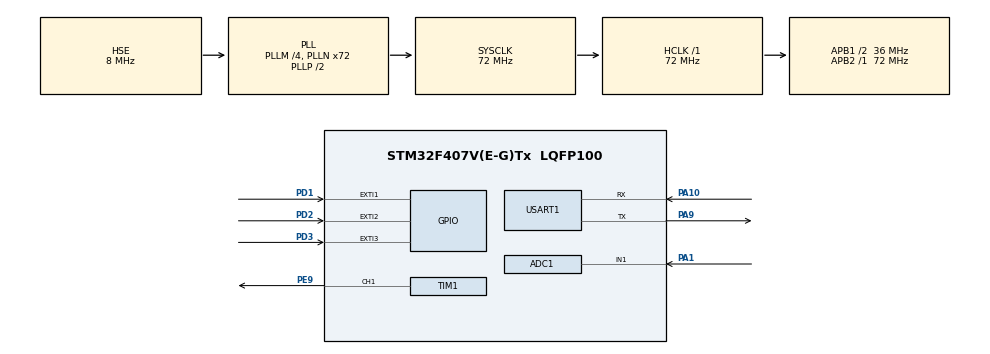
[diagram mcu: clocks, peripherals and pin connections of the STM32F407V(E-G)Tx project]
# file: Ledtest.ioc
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ADC1.Channel-2\#ChannelRegularConversion=ADC_CHANNEL_1
ADC1.ContinuousConvMode=DISABLE
ADC1.DMAContinuousRequests=ENABLE
ADC1.ExternalTrigConv=ADC_EXTERNALTRIGCONV_T2_TRGO
ADC1.NbrOfConversionFlag=1
ADC1.Rank-2\#ChannelRegularConversion=1
ADC1.SamplingTime-2\#ChannelRegularConversion=ADC_SAMPLETIME_15CYCLES
ADC1.master=1
Dma.ADC1.1.Direction=DMA_PERIPH_TO_MEMORY
Dma.ADC1.1.FIFOMode=DMA_FIFOMODE_DISABLE
Dma.ADC1.1.Instance=DMA2_Stream0
Dma.ADC1.1.MemDataAlignment=DMA_MDATAALIGN_HALFWORD
Dma.ADC1.1.MemInc=DMA_MINC_ENABLE
Dma.ADC1.1.Mode=DMA_CIRCULAR
Dma.ADC1.1.PeriphDataAlignment=DMA_PDATAALIGN_HALFWORD
Dma.ADC1.1.PeriphInc=DMA_PINC_DISABLE
Dma.ADC1.1.Priority=DMA_PRIORITY_HIGH
Dma.Request0=TIM1_CH1
Dma.Request1=ADC1
Dma.TIM1_CH1.0.Direction=DMA_MEMORY_TO_PERIPH
Dma.TIM1_CH1.0.FIFOMode=DMA_FIFOMODE_DISABLE
Dma.TIM1_CH1.0.Instance=DMA2_Stream1
Dma.TIM1_CH1.0.MemDataAlignment=DMA_MDATAALIGN_HALFWORD
Dma.TIM1_CH1.0.MemInc=DMA_MINC_ENABLE
Dma.TIM1_CH1.0.Mode=DMA_NORMAL
Dma.TIM1_CH1.0.PeriphDataAlignment=DMA_PDATAALIGN_HALFWORD
Dma.TIM1_CH1.0.PeriphInc=DMA_PINC_DISABLE
Dma.TIM1_CH1.0.Priority=DMA_PRIORITY_LOW
Mcu.Family=STM32F4
Mcu.Name=STM32F407V(E-G)Tx
Mcu.Package=LQFP100
NVIC.DMA2_Stream0_IRQn=true\:0\:0\:false\:false\:true\:false\:true\:true
NVIC.DMA2_Stream1_IRQn=true\:0\:0\:false\:true\:true\:1\:false\:true\:true
NVIC.EXTI1_IRQn=true\:0\:0\:false\:true\:true\:2\:true\:true\:true
NVIC.EXTI2_IRQn=true\:0\:0\:false\:true\:true\:3\:true\:true\:true
NVIC.EXTI3_IRQn=true\:0\:0\:false\:false\:true\:true\:true\:true
NVIC.PriorityGroup=NVIC_PRIORITYGROUP_4
PA1.Signal=ADCx_IN1
PA10.Mode=Asynchronous
PA10.Signal=USART1_RX
PA13.Mode=Serial_Wire
PA13.Signal=SYS_JTMS-SWDIO
PA14.Mode=Serial_Wire
PA14.Signal=SYS_JTCK-SWCLK
PA9.Mode=Asynchronous
PA9.Signal=USART1_TX
PD1.GPIO_ModeDefaultEXTI=GPIO_MODE_IT_FALLING
PD1.GPIO_PuPd=GPIO_PULLUP
PD1.Signal=GPXTI1
PD2.GPIO_ModeDefaultEXTI=GPIO_MODE_IT_FALLING
PD2.GPIO_PuPd=GPIO_PULLUP
PD2.Signal=GPXTI2
PD3.GPIO_ModeDefaultEXTI=GPIO_MODE_IT_FALLING
PD3.GPIO_PuPd=GPIO_PULLUP
PD3.Signal=GPXTI3
PE9.Signal=S_TIM1_CH1
PH0-OSC_IN.Mode=HSE-External-Oscillator
PH0-OSC_IN.Signal=RCC_OSC_IN
PH1-OSC_OUT.Mode=HSE-External-Oscillator
PH1-OSC_OUT.Signal=RCC_OSC_OUT
ProjectManager.HeapSize=0x200
ProjectManager.StackSize=0x400
ProjectManager.TargetToolchain=STM32CubeIDE
RCC.48MHZClocksFreq_Value=36000000
RCC.AHBFreq_Value=72000000
RCC.APB1CLKDivider=RCC_HCLK_DIV2
RCC.APB1Freq_Value=36000000
RCC.APB1TimFreq_Value=72000000
RCC.APB2Freq_Value=72000000
RCC.APB2TimFreq_Value=72000000
RCC.CortexFreq_Value=72000000
RCC.HCLKFreq_Value=72000000
RCC.HSE_VALUE=8000000
RCC.HSI_VALUE=16000000
RCC.LSE_VALUE=32768
RCC.PLLM=4
RCC.PLLN=72
RCC.PLLSourceVirtual=RCC_PLLSOURCE_HSE
RCC.SYSCLKFreq_VALUE=72000000
RCC.SYSCLKSource=RCC_SYSCLKSOURCE_PLLCLK
RCC.VCOOutputFreq_Value=144000000
SH.ADCx_IN1.0=ADC1_IN1,IN1
SH.S_TIM1_CH1.0=TIM1_CH1,PWM Generation1 CH1
STMicroelectronics.X-CUBE-ALGOBUILD.1.4.0.LibraryCcDSPOoLibraryJjDSPOoLibrary=true
TIM1.Channel-PWM\ Generation1\ CH1=TIM_CHANNEL_1
TIM1.Period=89
TIM2.Period=101
TIM2.Prescaler=15
TIM2.TIM_MasterOutputTrigger=TIM_TRGO_UPDATE
USART1.VirtualMode=VM_ASYNC
VP_STMicroelectronics.X-CUBE-ALGOBUILD_VS_DSPOoLibraryJjLibrary_1.4.0_1.4.0.Mode=DSPOoLibraryJjLibrary
VP_TIM1_VS_ClockSourceINT.Mode=Internal
VP_TIM2_VS_ClockSourceINT.Mode=Internal
board=custom

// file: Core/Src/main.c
/* USER CODE BEGIN Header */
/**
  ******************************************************************************
  * @file           : main.c
  * @brief          : Main program body
  ******************************************************************************
  * @attention
  *
  * Copyright (c) 2025 STMicroelectronics.
  * All rights reserved.
  *
  * This software is licensed under terms that can be found in the LICENSE file
  * in the root directory of this software component.
  * If no LICENSE file comes with this software, it is provided AS-IS.
  *
  ******************************************************************************
  */
/* USER CODE END Header */
#include "main.h"
#include "adc.h"
#include "dma.h"
#include "tim.h"
#include "usart.h"
#include "gpio.h"

/* USER CODE BEGIN Includes */
#include <string.h>
#include <math.h>
#define ARM_MATH_CM4
#include "arm_math.h"
#include <stdint.h>
#include <stdlib.h>
#include <stdio.h>
/* USER CODE END Includes */

void SystemClock_Config(void);
static void MX_NVIC_Init(void);

/* USER CODE BEGIN 0 */
/*void HAL_TIM_PWM_PulseFinishedCallback(TIM_HandleTypeDef *htim){
	HAL_TIM_PWM_Stop_DMA(&htim1, TIM_CHANNEL_1);

}*/
#define BUFFER_NUM 100
#define LED_NUM 60
#define LED_SLOT 40
uint16_t ADC_BUFFER[BUFFER_NUM];
uint16_t pwmData[LED_NUM*24+LED_SLOT];
volatile int SPEED = 20;
void SET_LED(int numLED, int Green, int Red, int Blue){
	uint32_t data = (Green<<16) | (Red<<8) | Blue;
	for (int i=0; i<24;i++){
			if (data&(1<<(23-i))) pwmData[numLED*24+i] = 60;
			else pwmData[numLED*24+i]=30;
		}
}

void send (){
	for (int i = (LED_NUM)*24; i < (LED_NUM)*24 + LED_SLOT; i++) {
	        pwmData[i] = 0;
	    }
	HAL_TIM_PWM_Start_DMA(&htim1,TIM_CHANNEL_1, (uint32_t *) pwmData, LED_NUM*24+LED_SLOT);
}

volatile int effect_led=0, effect_sounds=0, Mode=0;
int last_press_1 =0, last_press_2=0, last_press_3=0;

  int effStep=0;
  void Reset(){
	  effStep=0;
  }
  uint8_t Rainboweffect() {
    float factor1, factor2;
    uint16_t ind;
    for(uint16_t j=0;j<60;j++) {
      ind = effStep + j * 1;
      switch((int)((ind % 60) / 20)) {
        case 0: factor1 = 1.0 - ((float)(ind % 60 - 0 * 20) / 20);
                factor2 = (float)((int)(ind - 0) % 60) / 20;
                SET_LED(j, 255 * factor1 + 0 * factor2, 0 * factor1 + 255 * factor2, 0 * factor1 + 0 * factor2);
                break;
        case 1: factor1 = 1.0 - ((float)(ind % 60 - 1 * 20) / 20);
                factor2 = (float)((int)(ind - 20) % 60) / 20;
                SET_LED(j, 0 * factor1 + 0 * factor2, 255 * factor1 + 0 * factor2, 0 * factor1 + 255 * factor2);
                break;
        case 2: factor1 = 1.0 - ((float)(ind % 60 - 2 * 20) / 20);
                factor2 = (float)((int)(ind - 40) % 60) / 20;
                SET_LED(j, 0 * factor1 + 255 * factor2, 0 * factor1 + 0 * factor2, 255 * factor1 + 0 * factor2);
                break;
      }
    }
    send();
    HAL_Delay(SPEED);
    if(effStep >= 60) {Reset(); return 0x03; }
    else effStep++;
    return 0x01;
  }

  int choose=0, done =0;
  int GtoRres=0, RtoBres=0, BtoGres = 0;
  void SingleColorChange(){
	  if (choose == 0){
		  for (int i=0;i<60;i++){
			  SET_LED(i,255-GtoRres,GtoRres,0);
		  }
		  send();
		  GtoRres++;
		  if (GtoRres > 255){
			  done =1;
			  GtoRres=0;
		  }
	  } else
	  if (choose == 1){
		  for (int i=0;i<60;i++){
			  SET_LED(i,0,255-RtoBres,RtoBres);
		  }
		  send();
		  RtoBres++;
		  if (RtoBres > 255){
			  done =1;
			  RtoBres=0;
		  }
	  } else
	  if (choose == 2){
		  for (int i=0;i<60;i++){
			  SET_LED(i,BtoGres,0,255-BtoGres);
		  }
		  send();
		  BtoGres++;
		  if (BtoGres > 255){
			  done =1;
			  BtoGres=0;
		  }
	  }
	  if (done == 1){
		  done =0;
		  choose=(choose+1) % 3;
	  }
	  HAL_Delay(SPEED);
  };
  void Strobe(){
	  if (choose == 0){
	  		  for (int i=0;i<60;i++){
	  			  SET_LED(i,255-GtoRres,GtoRres,0);
	  		  }
	  		  send();
	  		  GtoRres++;
	  		  if (GtoRres > 255){
	  			  done =1;
	  			  GtoRres=0;
	  		  }
	  	  } else
	  	  if (choose == 1){
	  		  for (int i=0;i<60;i++){
	  			  SET_LED(i,0,255-RtoBres,RtoBres);
	  		  }
	  		  send();
	  		  RtoBres++;
	  		  if (RtoBres > 255){
	  			  done =1;
	  			  RtoBres=0;
	  		  }
	  	  } else
	  	  if (choose == 2){
	  		  for (int i=0;i<60;i++){
	  			  SET_LED(i,BtoGres,0,255-BtoGres);
	  		  }
	  		  send();
	  		  BtoGres++;
	  		  if (BtoGres > 255){
	  			  done =1;
	  			  BtoGres=0;
	  		  }
	  	  }
	  	  if (done == 1){
	  		  done =0;
	  		  choose=(choose+1) % 3;
	  	  }
	  	  HAL_Delay(SPEED);
	  	  for (int i=0;i <60;i++){
	  		  SET_LED(i,0, 0, 0);
	  	  }
	  	  send();
	  	  HAL_Delay(SPEED);
  }
  void PixelRun(){
	  for (int i=0; i<60;i++){
		  for (int j=0;j<60;j++){
			  if (j==i){
				  SET_LED(j, 0, 0, 255);
			  } else SET_LED(j, 0, 0, 0);
		  }
		  send();
		  HAL_Delay(SPEED +20);
	  }
  }

  uint16_t sounds_effect = 0;
  void Reset_Sounds_Effect(){
	  sounds_effect = 0;
  }
  void SET_LED_NUM_BY_SOUNDS(){
	  for (int i=0; i < BUFFER_NUM; i++){
		  HAL_ADC_Start(&hadc1);
		  HAL_ADC_PollForConversion(&hadc1, 10);
		  ADC_BUFFER[i] = HAL_ADC_GetValue(&hadc1);
		  HAL_ADC_Stop(&hadc1);
	  }
	  uint32_t sum=0;
	  uint32_t center=0;
	  int Led_On;
	  float volume;
	  for (int i=0; i < BUFFER_NUM; i++){
		  center = (uint32_t)ADC_BUFFER[i];
		  sum = sum + (center * center);
	  }
	  volume =sqrtf (sum / (float)BUFFER_NUM);
	  Led_On = ((int)volume * LED_NUM)/4095;
	  float factor1, factor2;
	  uint16_t ind;
	  for (int i=0; i < LED_NUM;i++){
		  if (i < Led_On){
			  ind = sounds_effect +i * 1;
				switch((int)((ind % 60) / 20)) {
				  case 0: factor1 = 1.0 - ((float)(ind % 60 - 0 * 20) / 20);
						  factor2 = (float)((int)(ind - 0) % 60) / 20;
						  SET_LED(i, 255 * factor1 + 0 * factor2, 0 * factor1 + 255 * factor2, 0 * factor1 + 0 * factor2);
						  break;
				  case 1: factor1 = 1.0 - ((float)(ind % 60 - 1 * 20) / 20);
						  factor2 = (float)((int)(ind - 20) % 60) / 20;
						  SET_LED(i, 0 * factor1 + 0 * factor2, 255 * factor1 + 0 * factor2, 0 * factor1 + 255 * factor2);
						  break;
				  case 2: factor1 = 1.0 - ((float)(ind % 60 - 2 * 20) / 20);
						  factor2 = (float)((int)(ind - 40) % 60) / 20;
						  SET_LED(i, 0 * factor1 + 255 * factor2, 0 * factor1 + 0 * factor2, 255 * factor1 + 0 * factor2);
						  break;
				}
		  } else {
			  SET_LED(i,0,0,0);
		  }
	  }

	  send();
	  HAL_Delay(10);
	  if (sounds_effect >= LED_NUM){
		  Reset_Sounds_Effect();
	  } else
		  sounds_effect ++;
  }

  void SET_LED_COLOR_BY_SOUNDS(){
	  for (int i=0; i < BUFFER_NUM; i++){
		  HAL_ADC_Start(&hadc1);
		  HAL_ADC_PollForConversion(&hadc1, 10);
		  ADC_BUFFER[i] = HAL_ADC_GetValue(&hadc1);
		  HAL_ADC_Stop(&hadc1);
	  }
	  uint32_t sum=0;
	  uint32_t center=0;
	  float volume;
	  for (int i=0; i < BUFFER_NUM; i++){
		  center = (uint32_t)ADC_BUFFER[i];
		  sum = sum + (center * center);
	  }
	  volume =sqrtf (sum / (float)BUFFER_NUM); //volume co gia tri [200,4095]

	  // Scale volume về 0.0–1.0
	  float ratio = (volume + 500) / 3895.0f;
	  int G, R, B;

	  // Ánh xạ theo dải nhiệt độ: Xanh → Lá → Vàng → Đỏ
	  if (ratio < 0.33f) {
		  // Xanh dương → Xanh lá
		  float t = ratio / 0.33f;
		  R = 0;
		  G = (uint8_t)(t * 255);
		  B = (uint8_t)((1 - t) * 255);
	  }
	  else if (ratio < 0.66f) {
		  // Xanh lá → Vàng
		  float t = (ratio - 0.33f) / 0.33f;
		  R = (uint8_t)(t * 255);
		  G = 255;
		  B = 0;
	  }
	  else {
		  // Vàng → Đỏ
		  float t = (ratio - 0.66f) / 0.34f;
		  R = 255;
		  G = (uint8_t)((1 - t) * 255);
		  B = 0;
	  }

	  for (int i =0; i < LED_NUM; i++){
		  SET_LED(i,G, R, B);
	  }
	  send();
	  HAL_Delay(10);
  }

#define FFT_SIZE 1024            // Số điểm FFT (phải là lũy thừa của 2)
#define SAMPLE_RATE 44100.0f        // Tốc độ lấy mẫu (Hz)
uint32_t adc_buffer_hz[FFT_SIZE];  // DMA điền dữ liệu vào đây

float get_dominant_frequency(void) {
      float input_f32[FFT_SIZE];
      float fft_output[FFT_SIZE];         // FFT trả về FFT_SIZE điểm
      float magnitude[FFT_SIZE / 2];      // Biên độ chỉ tính cho nửa phổ tần số
      arm_rfft_fast_instance_f32 fft_instance;

      for (int i = 0; i < FFT_SIZE; i++){
          input_f32[i] = ((float)adc_buffer_hz[i]-2048.0f) / 2048.0f; // Giả sử 12-bit ADC
      }
      // Khởi tạo FFT
      arm_rfft_fast_init_f32(&fft_instance, FFT_SIZE);
      // Thực hiện FFT
      arm_rfft_fast_f32(&fft_instance, input_f32, fft_output, 0);
      arm_cmplx_mag_f32(fft_output,magnitude, FFT_SIZE/2);
      int max_index = 6; // bỏ index 0 vì thường là DC offset
      float max_value = magnitude[6];
      for (int i = 7; i < FFT_SIZE / 2; i++) {
          if (magnitude[i] > max_value) {
              max_value = magnitude[i];
              max_index = i;
          }
      }

      float freq_resolution = (float)(SAMPLE_RATE/2) / (float)FFT_SIZE; // Tính tần số tương ứng
      float dominant_freq = max_index * freq_resolution;
      return dominant_freq;
  }

void One_Frequence(){
	  HAL_TIM_Base_Start(&htim2);
	  HAL_ADC_Start_DMA(&hadc1, (uint32_t*)adc_buffer_hz, FFT_SIZE);
	  float freq_hz;
	  int led_on_hz;
	  char array[]= "\n\r";
	  freq_hz=get_dominant_frequency();
	  int out_freq;
	  out_freq=freq_hz;
	  char out[20];
	  sprintf(out, "%d", out_freq);

	  HAL_UART_Transmit(&huart1, (uint8_t*)out, strlen(out), HAL_MAX_DELAY);
	  HAL_UART_Transmit(&huart1, (uint8_t*)array, strlen(array), HAL_MAX_DELAY);
	  HAL_Delay(500);

	  led_on_hz = (freq_hz / (SAMPLE_RATE / 4)) * LED_NUM;
	  for (int i=0; i<LED_NUM;i++){
		  if (i<led_on_hz){
			  SET_LED(i, 255,0,0);
		  } else{
			  SET_LED(i,0,0,0);
		  }
	  }
  send();
}

void Led_Frequence(){
	HAL_TIM_Base_Start(&htim2);
	HAL_ADC_Start_DMA(&hadc1, (uint32_t*)adc_buffer_hz, FFT_SIZE);
	float input_f32[FFT_SIZE];
	float fft_output[FFT_SIZE];         // FFT trả về FFT_SIZE điểm
	float magnitude[FFT_SIZE / 2];      // Biên độ chỉ tính cho nửa phổ tần số
	arm_rfft_fast_instance_f32 fft_instance;

	// Chuẩn hóa dữ liệu ADC về float [-1.0, 1.0]
	for (int i = 0; i < FFT_SIZE; i++){
	  input_f32[i] = ((float)adc_buffer_hz[i]-2048.0f) / 2048.0f; // Giả sử 12-bit ADC
	}
	// Khởi tạo FFT
	arm_rfft_fast_init_f32(&fft_instance, FFT_SIZE);

	// Thực hiện FFT
	arm_rfft_fast_f32(&fft_instance, input_f32, fft_output, 0);
	arm_cmplx_mag_f32(fft_output,magnitude, FFT_SIZE/2);
	int bass, mid, treb;
	int bass_id, mid_id, treb_id;
	int bass_led, mid_led, treb_led;
	bass = magnitude[1];
	bass_id=1;
	mid = magnitude[15];
	mid_id=15;
	treb = magnitude[182];
	treb_id = magnitude[182];
	for (int i=1; i<15; i++){
		if (bass < magnitude[i]){
			bass = magnitude[i];
			bass_id=i;
		}
	}
	bass_led=bass_id*17;
	for (int i=15; i<182; i++){
		if (mid<magnitude[i]){
			mid=magnitude[i];
			mid_id=i;
		}
	}
	mid_led = (float)(mid_id -15) * 1.5;
	for (int i=182; i<FFT_SIZE/2; i++){
		if (treb <magnitude[i]){
			treb=magnitude[i];
			treb_id=i;
		}
	}
	treb_led = (float)(treb_id-182)*0.7;
	int freq_resolution = 22;
	bass_id = bass_id *freq_resolution;
	mid_id= mid_id *freq_resolution;
	treb_id = treb_id * freq_resolution;
	for (int i=0;i<LED_NUM;i++){
		if (i <20){
			SET_LED(i,0,0,bass_led);
		} else{
			if (i<40){
				SET_LED(i,mid_led,0,0);
			} else{
				SET_LED(i,0,treb_led,0);
			}
		}
	}
	send();
	char space[] = "  ";
	char endline[] = "\n\r";
	 char out1[20];
	 char out2[20];
	 char out3[20];
	 sprintf(out1, "%d", bass_id);
	 sprintf(out2, "%d", mid_id);
	 sprintf(out3, "%u", treb_id);
	HAL_UART_Transmit(&huart1, (uint8_t*)out1, strlen(out1), HAL_MAX_DELAY);
	HAL_UART_Transmit(&huart1, (uint8_t*)space, strlen(space), HAL_MAX_DELAY);
	HAL_UART_Transmit(&huart1, (uint8_t*)out2, strlen(out2), HAL_MAX_DELAY);
	HAL_UART_Transmit(&huart1, (uint8_t*)space, strlen(space), HAL_MAX_DELAY);
	HAL_UART_Transmit(&huart1, (uint8_t*)out3, strlen(out3), HAL_MAX_DELAY);
	HAL_UART_Transmit(&huart1, (uint8_t*)endline, strlen(endline), HAL_MAX_DELAY);
	 HAL_Delay(500);

}
/* USER CODE END 0 */

int main(void)
{

  /* MCU Configuration--------------------------------------------------------*/

  /* Reset of all peripherals, Initializes the Flash interface and the Systick. */
  HAL_Init();

  /* Configure the system clock */
  SystemClock_Config();

  /* Initialize all configured peripherals */
  MX_GPIO_Init();
  MX_DMA_Init();
  MX_TIM1_Init();
  MX_ADC1_Init();
  MX_TIM2_Init();
  MX_USART1_UART_Init();

  /* Initialize interrupts */
  MX_NVIC_Init();

  /* Infinite loop */
  while (1)
  {
	  if (Mode ==0){
		  if (effect_led == 0){
			  Rainboweffect();
		  } else
		  if (effect_led == 1){
			  SingleColorChange();
		  } else
		  if (effect_led == 2){
			  Strobe();
		  } else
		  if (effect_led == 3){
			  PixelRun();
		  }
	  } else
	  if (Mode == 1){
		  if (effect_sounds == 0){
			  SET_LED_NUM_BY_SOUNDS();
		  } else
		  if (effect_sounds == 1){
			  SET_LED_COLOR_BY_SOUNDS();
		  } else
		  if (effect_sounds == 2){
			  One_Frequence();
		  } else
		  if (effect_sounds == 3){
			  Led_Frequence();
		  }
	  }
	  HAL_Delay(10);
  }
}

void SystemClock_Config(void)
{
  RCC_OscInitTypeDef RCC_OscInitStruct = {0};
  RCC_ClkInitTypeDef RCC_ClkInitStruct = {0};

  /** Configure the main internal regulator output voltage
  */
  __HAL_RCC_PWR_CLK_ENABLE();
  __HAL_PWR_VOLTAGESCALING_CONFIG(PWR_REGULATOR_VOLTAGE_SCALE1);

  /** Initializes the RCC Oscillators according to the specified parameters
  * in the RCC_OscInitTypeDef structure.
  */
  RCC_OscInitStruct.OscillatorType = RCC_OSCILLATORTYPE_HSE;
  RCC_OscInitStruct.HSEState = RCC_HSE_ON;
  RCC_OscInitStruct.PLL.PLLState = RCC_PLL_ON;
  RCC_OscInitStruct.PLL.PLLSource = RCC_PLLSOURCE_HSE;
  RCC_OscInitStruct.PLL.PLLM = 4;
  RCC_OscInitStruct.PLL.PLLN = 72;
  RCC_OscInitStruct.PLL.PLLP = RCC_PLLP_DIV2;
  RCC_OscInitStruct.PLL.PLLQ = 4;
  if (HAL_RCC_OscConfig(&RCC_OscInitStruct) != HAL_OK)
  {
    Error_Handler();
  }

  /** Initializes the CPU, AHB and APB buses clocks
  */
  RCC_ClkInitStruct.ClockType = RCC_CLOCKTYPE_HCLK|RCC_CLOCKTYPE_SYSCLK
                              |RCC_CLOCKTYPE_PCLK1|RCC_CLOCKTYPE_PCLK2;
  RCC_ClkInitStruct.SYSCLKSource = RCC_SYSCLKSOURCE_PLLCLK;
  RCC_ClkInitStruct.AHBCLKDivider = RCC_SYSCLK_DIV1;
  RCC_ClkInitStruct.APB1CLKDivider = RCC_HCLK_DIV2;
  RCC_ClkInitStruct.APB2CLKDivider = RCC_HCLK_DIV1;

  if (HAL_RCC_ClockConfig(&RCC_ClkInitStruct, FLASH_LATENCY_2) != HAL_OK)
  {
    Error_Handler();
  }
}

/**
  * @brief NVIC Configuration.
  * @retval None
  */
static void MX_NVIC_Init(void)
{
  /* DMA2_Stream1_IRQn interrupt configuration */
  HAL_NVIC_SetPriority(DMA2_Stream1_IRQn, 0, 0);
  HAL_NVIC_EnableIRQ(DMA2_Stream1_IRQn);
  /* EXTI1_IRQn interrupt configuration */
  HAL_NVIC_SetPriority(EXTI1_IRQn, 0, 0);
  HAL_NVIC_EnableIRQ(EXTI1_IRQn);
  /* EXTI2_IRQn interrupt configuration */
  HAL_NVIC_SetPriority(EXTI2_IRQn, 0, 0);
  HAL_NVIC_EnableIRQ(EXTI2_IRQn);
}

/* USER CODE BEGIN 4 */
void HAL_GPIO_EXTI_Callback(uint16_t GPIO_Pin){
	  if (GPIO_Pin == GPIO_PIN_1){
		  if (Mode == 0){
			   if (HAL_GetTick() - last_press_1 >= 200){
					effect_led = (effect_led + 1) % 4;
					last_press_1 = HAL_GetTick();
					SPEED = 20;
			   }
		  } else
		  if (Mode == 1){
			  if (HAL_GetTick() - last_press_1 >= 200){
					effect_sounds = (effect_sounds + 1) % 4;
					last_press_1 = HAL_GetTick();
			   }
		  }
	  } else
	  if (GPIO_Pin == GPIO_PIN_2){
		  if (HAL_GetTick() - last_press_2 >= 200){
				SPEED= (SPEED+10) %100;
				last_press_2 = HAL_GetTick();
		   }
	  } else
	  if (GPIO_Pin == GPIO_PIN_3){
		  if (HAL_GetTick() - last_press_3 >= 200){
			  	if (Mode == 0){
			  		Mode = 1;
			  	} else
			  		if (Mode == 1){
			  			Mode = 0;
			  			SPEED = 20;
			  		}
		   }
	  }
  }
/* USER CODE END 4 */

void Error_Handler(void)
{
  __disable_irq();
  while (1)
  {
  }
}
